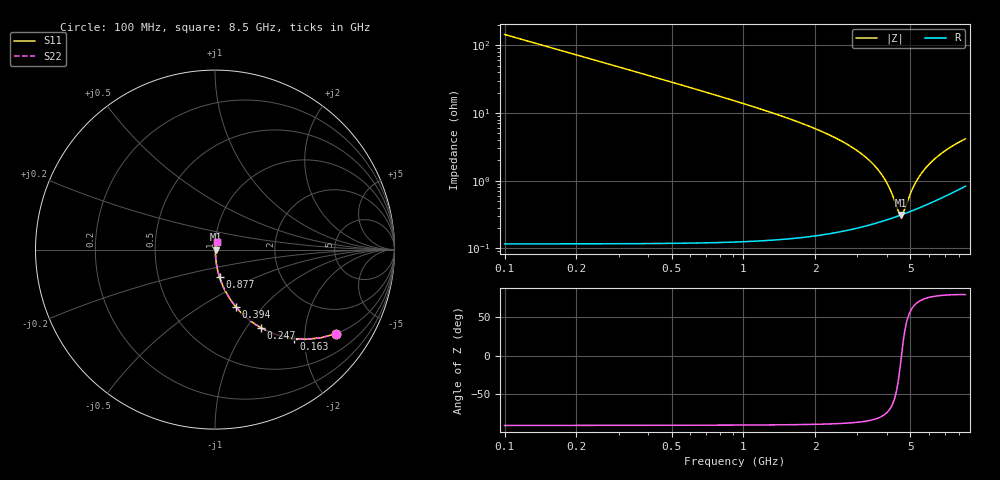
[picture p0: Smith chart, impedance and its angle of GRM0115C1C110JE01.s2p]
!Murata Part Number: GRM0115C1C110JE01
!These Parameters are Measured in Series Mode Connection
!Data Generated on Mar 30, 2021
!  o--ll--o
!Port1  Port2
!  o------o
!Operation Temp=25[degC], DC Bias Voltage=0[V]
!Freq. Start=100[MHz] Stop=9[GHz] 401[Steps]
# Hz S RI R 50
!Freq.(Hz) S11(Real) S11(Imag) S21(Real) S21(Imag) S12(Real) S12(Imag) S22(Real) S22(Imag)
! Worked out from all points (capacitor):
!   401 points, 100 MHz to 8.5 GHz, reference 50 ohm
!   read as one part in series: C = 11 pF near 142 MHz
!   lowest |Z| = 312 mohm at 4.573 GHz (marker M1)
!   series resonance near 4.589 GHz, so ESL is about 110 pH
!   S11 on the Smith chart (normalised r, x): 100 MHz: 1.00, -2.89; 163 MHz: 1.00, -1.77; 247 MHz: 1.00, -1.17; 394 MHz: 1.00, -0.73; 877 MHz: 1.00, -0.32; 8.5 GHz: 1.02, +0.08
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1e8  0.6764 -0.4675  0.3236 0.4675  0.3236 0.4675  0.6764 -0.4675
1.63e8  0.4401 -0.4957  0.5599 0.4957  0.5599 0.4957  0.4401 -0.4957
2.47e8  0.2548 -0.4347  0.7452 0.4347  0.7452 0.4347  0.2548 -0.4347
3.1e8  0.1781 -0.3814  0.8219 0.3814  0.8219 0.3814  0.1781 -0.3814
3.94e8  0.1181 -0.3211  0.8819 0.3211  0.8819 0.3211  0.1181 -0.3211
6.04e8  0.0535 -0.2225  0.9465 0.2225  0.9465 0.2225  0.0535 -0.2225
8.77e8  0.0258 -0.1546  0.9742 0.1546  0.9742 0.1546  0.0258 -0.1546
1.507e9  0.00862 -0.0848  0.9914 0.0848  0.9914 0.0848  0.00862 -0.0848
2.914e9  0.00281 -0.0295  0.9972 0.0295  0.9972 0.0295  0.00281 -0.0295
3.376e9  0.00259 -0.0195  0.9974 0.0195  0.9974 0.0195  0.00259 -0.0195
3.754e9  0.00262 -0.0127  0.9974 0.0127  0.9974 0.0127  0.00262 -0.0127
4.048e9  0.00274 -0.00787  0.9973 0.00787  0.9973 0.00787  0.00274 -0.00787
4.3e9  0.00289 -0.00407  0.9971 0.00407  0.9971 0.00407  0.00289 -0.00407
4.468e9  0.00302 -0.00167  0.997 0.00167  0.997 0.00167  0.00302 -0.00167
4.573e9  0.00311 -0.000218  0.9969 0.000218  0.9969 0.000218  0.00311 -0.000218
4.678e9  0.0032 0.0012  0.9968 -0.0012  0.9968 -0.0012  0.0032 0.0012
4.972e9  0.0035 0.005  0.9965 -0.005  0.9965 -0.005  0.0035 0.005
5.182e9  0.00373 0.00759  0.9963 -0.00759  0.9963 -0.00759  0.00373 0.00759
5.707e9  0.00442 0.0137  0.9956 -0.0137  0.9956 -0.0137  0.00442 0.0137
6.316e9  0.00535 0.0201  0.9946 -0.0201  0.9946 -0.0201  0.00535 0.0201
7.114e9  0.0068 0.0279  0.9932 -0.0279  0.9932 -0.0279  0.0068 0.0279
8.5e9  0.00983 0.04  0.9902 -0.04  0.9902 -0.04  0.00983 0.04
